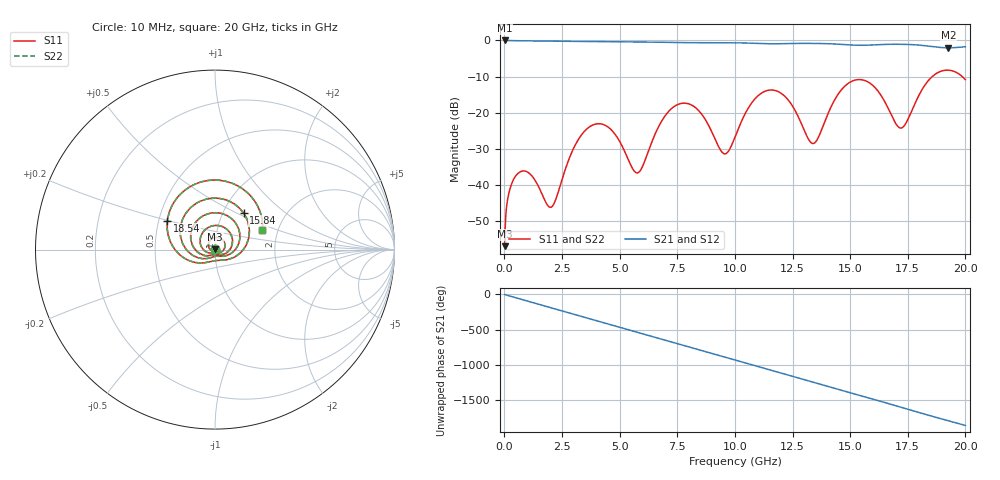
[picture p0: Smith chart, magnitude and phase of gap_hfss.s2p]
! Solver applicability map - 40 x 16 mm symmetric stripline
! Case: gap_hfss
! Sweep: 10 MHz - 20 GHz, 25 MHz step, 4 cores
# GHz S MA R 50.000000
! Terminal data exported
! Port[1] = U1.PAD1.SIG
! Port[2] = U2.PAD1.SIG
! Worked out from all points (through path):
!   801 points, 10 MHz to 20 GHz, reference 50 ohm
!   highest |S21| = -0.01 dB at 10 MHz (marker M1); lowest = -2.0 dB at 19.26 GHz (marker M2)
!   group delay of S21, straight-line fit = 260 ps
!   lowest |S11| = -57.0 dB at 10 MHz (marker M3), VSWR 1.00, Z = 50.1 + j0.0582 ohm
!   |S11| at or under -10 dB: start of sweep to 18.56 GHz; 19.86 GHz to end of sweep
!   |S22| runs from -57.0 to -8.2 dB; largest |S21 - S12| = 1.1e-12
!   S11 on the Smith chart (normalised r, x): 10 MHz: 1.00, +0.00; 15.84 GHz: 1.24, +0.55; 18.54 GHz: 0.56, +0.20; 20 GHz: 1.66, +0.39
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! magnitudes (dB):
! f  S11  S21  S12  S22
! 10 MHz  -57.0  0.0  0.0  -57.0
! 185 MHz  -42.6  0.0  0.0  -42.6
! 510 MHz  -37.4  -0.1  -0.1  -37.4
! 1.11 GHz  -37.0  -0.1  -0.1  -37.0
! 2.035 GHz  -46.2  -0.2  -0.2  -46.1
! 3.36 GHz  -26.0  -0.3  -0.3  -26.0
! 4.485 GHz  -23.9  -0.4  -0.4  -23.9
! 5.76 GHz  -36.7  -0.4  -0.4  -36.7
! 6.685 GHz  -24.0  -0.5  -0.5  -24.0
! 7.885 GHz  -17.4  -0.6  -0.6  -17.4
! 9.485 GHz  -31.2  -0.6  -0.6  -31.2
! 10.01 GHz  -26.7  -0.7  -0.7  -26.8
! 10.81 GHz  -16.6  -0.8  -0.8  -16.7
! 11.63 GHz  -13.8  -0.9  -0.9  -13.8
! 13.36 GHz  -28.5  -0.8  -0.8  -28.5
! 14.71 GHz  -13.0  -1.1  -1.1  -13.0
! 15.84 GHz  -11.7  -1.3  -1.3  -11.7
! 16.68 GHz  -19.3  -1.1  -1.1  -19.3
! 17.29 GHz  -24.0  -1.1  -1.1  -24.1
! 18.54 GHz  -10.2  -1.7  -1.7  -10.2
! 19.26 GHz  -8.2  -2.0  -2.0  -8.2
! 20 GHz  -10.9  -1.7  -1.7  -10.9
